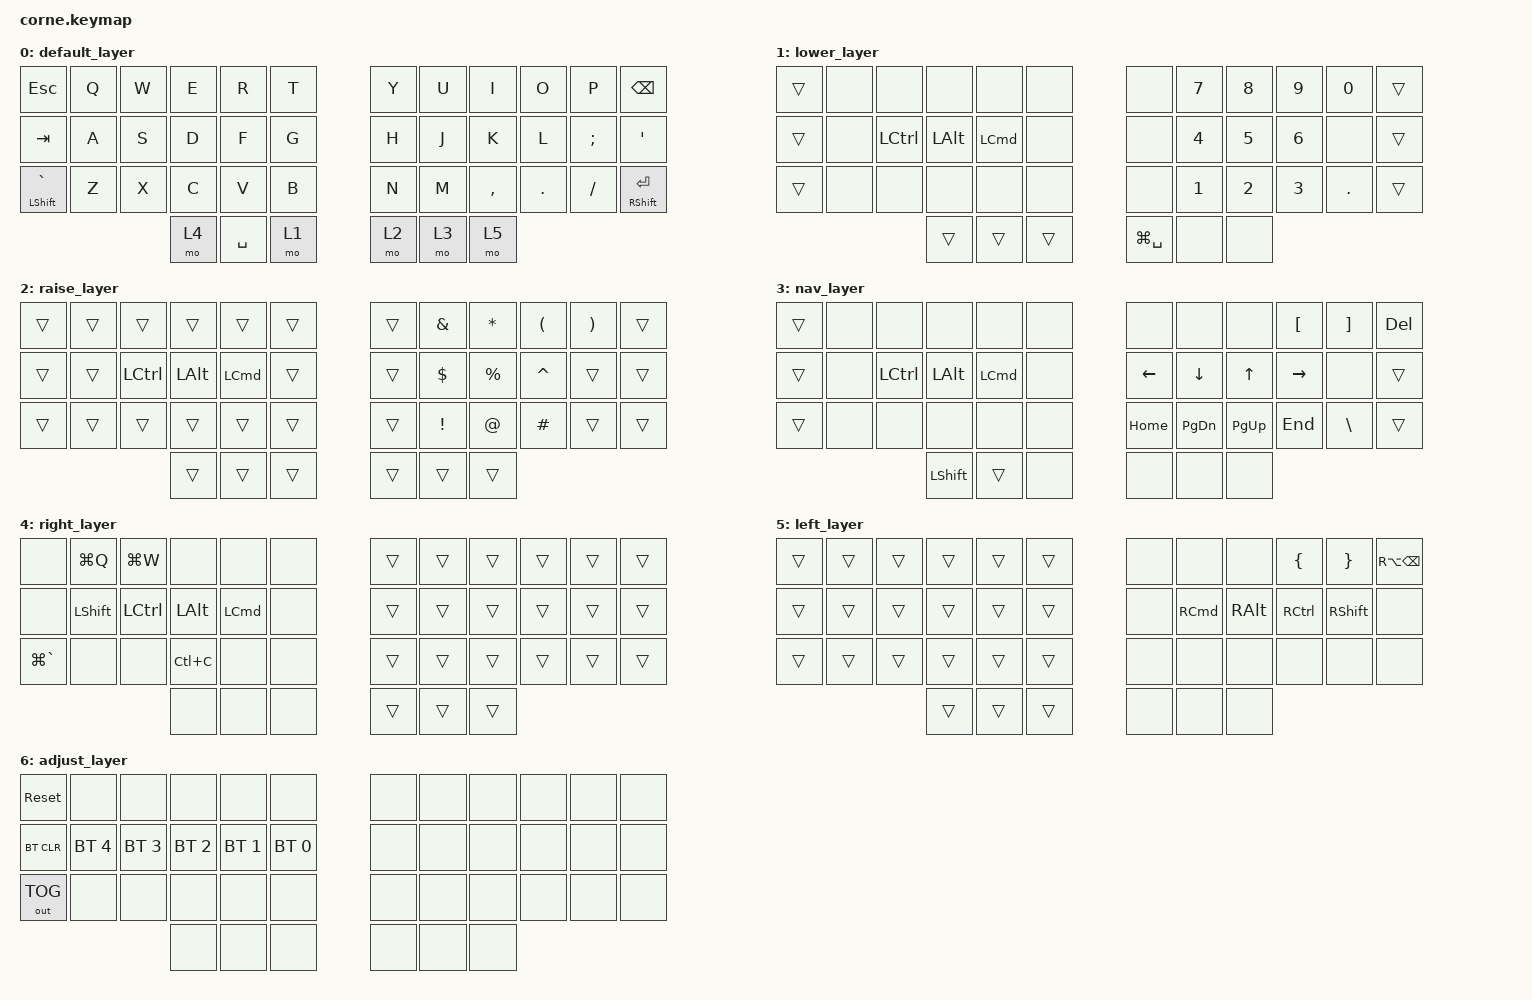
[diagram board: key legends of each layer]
/*
 * Copyright (c) 2020 The ZMK Contributors
 *
 * SPDX-License-Identifier: MIT
 * To use home rows - &hm LSHFT F
 */

#include <behaviors.dtsi>
#include <dt-bindings/zmk/bt.h>
#include <dt-bindings/zmk/keys.h>
#include <dt-bindings/zmk/outputs.h>

#define QWERTY 0
#define NUMB 1
#define NAVI 2
#define ADJUST 3

/ {
    combos {
        compatible = "zmk,combos";

        combo_adjust_layer {
            bindings = <&mo 6>;
            key-positions = <38 37>;
        };
    };

    behaviors {
        space_bh: space_bh {
            compatible = "zmk,behavior-mod-morph";
            label = "SPACE_BH";
            bindings = <&kp RIGHT_ALT>, <&kp SPACE>;

            #binding-cells = <0>;
            mods = <(MOD_LGUI)>;
            keep-mods = <(MOD_LGUI)>;
        };

        ctrl_tab_bh: ctrl_tab_bh {
            compatible = "zmk,behavior-mod-morph";
            label = "CTRL_TAB_BH";
            bindings = <&kp LEFT_COMMAND>, <&kp TAB>;

            #binding-cells = <0>;
            mods = <(MOD_LCTL)>;
            keep-mods = <(MOD_LCTL)>;
        };
    };

    keymap {
        compatible = "zmk,keymap";

        default_layer {
            bindings = <
&kp ESC               &kp Q  &kp W  &kp E  &kp R      &kp T    &kp Y  &kp U  &kp I      &kp O       &kp P          &kp BACKSPACE
&kp TAB               &kp A  &kp S  &kp D  &kp F      &kp G    &kp H  &kp J  &kp K      &kp L       &kp SEMICOLON  &kp SQT
&mt LEFT_SHIFT GRAVE  &kp Z  &kp X  &kp C  &kp V      &kp B    &kp N  &kp M  &kp COMMA  &kp PERIOD  &kp SLASH      &mt RIGHT_SHIFT ENTER
                                    &mo 4  &kp SPACE  &mo 1    &mo 2  &mo 3  &mo 5
            >;
        };

        lower_layer {
            bindings = <
&trans  &none  &none             &none         &none             &none     &none          &kp N7  &kp N8  &kp N9  &kp N0      &trans
&trans  &none  &kp LEFT_CONTROL  &kp LEFT_ALT  &kp LEFT_COMMAND  &none     &none          &kp N4  &kp N5  &kp N6  &none       &trans
&trans  &none  &none             &none         &none             &none     &none          &kp N1  &kp N2  &kp N3  &kp PERIOD  &trans
                                 &trans        &trans            &trans    &kp LG(SPACE)  &none   &none
            >;
        };

        raise_layer {
            bindings = <
&trans  &trans  &trans            &trans        &trans            &trans    &trans  &kp AMPERSAND    &kp ASTERISK  &kp LEFT_PARENTHESIS  &kp RIGHT_PARENTHESIS  &trans
&trans  &trans  &kp LEFT_CONTROL  &kp LEFT_ALT  &kp LEFT_COMMAND  &trans    &trans  &kp DOLLAR       &kp PERCENT   &kp CARET             &trans                 &trans
&trans  &trans  &trans            &trans        &trans            &trans    &trans  &kp EXCLAMATION  &kp AT        &kp HASH              &trans                 &trans
                                  &trans        &trans            &trans    &trans  &trans           &trans
            >;
        };

        nav_layer {
            bindings = <
&trans  &none  &none             &none           &none             &none    &none     &none           &none         &kp LEFT_BRACKET  &kp RIGHT_BRACKET  &kp DELETE
&trans  &none  &kp LEFT_CONTROL  &kp LEFT_ALT    &kp LEFT_COMMAND  &none    &kp LEFT  &kp DOWN_ARROW  &kp UP_ARROW  &kp RIGHT_ARROW   &none              &trans
&trans  &none  &none             &none           &none             &none    &kp HOME  &kp PAGE_DOWN   &kp PAGE_UP   &kp END           &kp BACKSLASH      &trans
                                 &kp LEFT_SHIFT  &trans            &none    &none     &none           &none
            >;
        };

        right_layer {
            bindings = <
&none          &kp LG(Q)       &kp LG(W)         &none         &none             &none    &trans  &trans  &trans  &trans  &trans  &trans
&none          &kp LEFT_SHIFT  &kp LEFT_CONTROL  &kp LEFT_ALT  &kp LEFT_COMMAND  &none    &trans  &trans  &trans  &trans  &trans  &trans
&kp LG(GRAVE)  &none           &none             &kp LC(C)     &none             &none    &trans  &trans  &trans  &trans  &trans  &trans
                                                 &none         &none             &none    &trans  &trans  &trans
            >;
        };

        left_layer {
            bindings = <
&trans  &trans  &trans  &trans  &trans  &trans    &none  &none              &none          &kp LEFT_BRACE     &kp RIGHT_BRACE  &kp RA(BACKSPACE)
&trans  &trans  &trans  &trans  &trans  &trans    &none  &kp RIGHT_COMMAND  &kp RIGHT_ALT  &kp RIGHT_CONTROL  &kp RIGHT_SHIFT  &none
&trans  &trans  &trans  &trans  &trans  &trans    &none  &none              &none          &none              &none            &none
                        &trans  &trans  &trans    &none  &none              &none
            >;
        };

        adjust_layer {
            bindings = <
&sys_reset    &none         &none         &none         &none         &none           &none  &none  &none  &none  &none  &none
&bt BT_CLR    &bt BT_SEL 4  &bt BT_SEL 3  &bt BT_SEL 2  &bt BT_SEL 1  &bt BT_SEL 0    &none  &none  &none  &none  &none  &none
&out OUT_TOG  &none         &none         &none         &none         &none           &none  &none  &none  &none  &none  &none
                                          &none         &none         &none           &none  &none  &none
            >;
        };
    };
};
